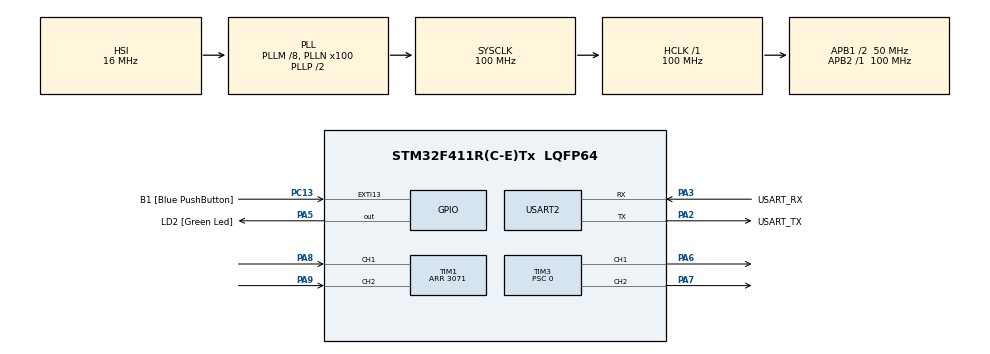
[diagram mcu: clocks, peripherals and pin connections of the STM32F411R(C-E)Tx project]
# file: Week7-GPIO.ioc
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Mcu.Family=STM32F4
PC15-OSC32_OUT.Mode=LSE-External-Oscillator
RCC.CortexFreq_Value=100000000
PC13-ANTI_TAMP.GPIO_Label=B1 [Blue PushButton]
PA14.GPIO_Label=TCK
PH1\ -\ OSC_OUT.Mode=HSE-External-Clock-Source
TIM1.EncoderMode=TIM_ENCODERMODE_TI12
RCC.APB1CLKDivider=RCC_HCLK_DIV2
PC14-OSC32_IN.Signal=RCC_OSC32_IN
RCC.SYSCLKSource=RCC_SYSCLKSOURCE_PLLCLK
ProjectManager.StackSize=0x400
PA3.Mode=Asynchronous
PA13.Signal=SYS_JTMS-SWDIO
PH0\ -\ OSC_IN.Mode=HSE-External-Clock-Source
SH.S_TIM1_CH1.0=TIM1_CH1,Encoder_Interface
PH0\ -\ OSC_IN.Signal=RCC_OSC_IN
ProjectManager.TargetToolchain=STM32CubeIDE
RCC.HCLKFreq_Value=100000000
RCC.APB2TimFreq_Value=100000000
TIM3.Period=10000
PA9.Signal=S_TIM1_CH2
PC15-OSC32_OUT.Signal=RCC_OSC32_OUT
RCC.AHBFreq_Value=100000000
TIM3.Channel-PWM\ Generation1\ CH1=TIM_CHANNEL_1
PA5.Signal=GPIO_Output
SH.S_TIM3_CH2.0=TIM3_CH2,PWM Generation2 CH2
RCC.HSE_VALUE=8000000
PH1\ -\ OSC_OUT.Signal=RCC_OSC_OUT
board=NUCLEO-F411RE
PC13-ANTI_TAMP.Signal=GPXTI13
RCC.VCOOutputFreq_Value=200000000
RCC.APB2Freq_Value=100000000
PC14-OSC32_IN.Mode=LSE-External-Oscillator
SH.S_TIM1_CH2.0=TIM1_CH2,Encoder_Interface
VP_TIM2_VS_ClockSourceINT.Mode=Internal
PA14.Mode=Serial_Wire
TIM3.Prescaler=0
NVIC.TIM2_IRQn=true\:0\:0\:false\:false\:true\:true\:true
PA8.Signal=S_TIM1_CH1
SH.S_TIM3_CH1.0=TIM3_CH1,PWM Generation1 CH1
PA13.Mode=Serial_Wire
Mcu.Name=STM32F411R(C-E)Tx
PA2.Signal=USART2_TX
PA13.GPIO_Label=TMS
RCC.FLatency-AdvancedSettings=FLASH_LATENCY_3
RCC.48MHZClocksFreq_Value=50000000
PB3.Signal=SYS_JTDO-SWO
RCC.SYSCLKFreq_VALUE=100000000
Mcu.Package=LQFP64
TIM2.Prescaler=99
PA6.Signal=S_TIM3_CH1
PA5.GPIO_Label=LD2 [Green Led]
TIM1.IC1Filter=2
USART2.VirtualMode=VM_ASYNC
PC13-ANTI_TAMP.GPIO_ModeDefaultEXTI=GPIO_MODE_IT_FALLING
PA2.GPIO_Label=USART_TX
PA14.Signal=SYS_JTCK-SWCLK
ProjectManager.HeapSize=0x200
RCC.HSI_VALUE=16000000
NVIC.PriorityGroup=NVIC_PRIORITYGROUP_0
TIM3.Channel-PWM\ Generation2\ CH2=TIM_CHANNEL_2
RCC.PLLM=8
RCC.PLLN=100
RCC.APB1TimFreq_Value=100000000
PA2.Mode=Asynchronous
TIM1.Period=3071
RCC.APB1Freq_Value=50000000
VP_TIM3_VS_ClockSourceINT.Mode=Internal
PA3.GPIO_Label=USART_RX
PA3.Signal=USART2_RX
PA7.Signal=S_TIM3_CH2
PB3.GPIO_Label=SWO

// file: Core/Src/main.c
/* USER CODE BEGIN Header */
/**
  ******************************************************************************
  * @file           : main.c
  * @brief          : Main program body
  ******************************************************************************
  * @attention
  *
  * <h2><center>&copy; Copyright (c) 2021 STMicroelectronics.
  * All rights reserved.</center></h2>
  *
  * This software component is licensed by ST under BSD 3-Clause license,
  * the "License"; You may not use this file except in compliance with the
  * License. You may obtain a copy of the License at:
  *                        opensource.org/licenses/BSD-3-Clause
  *
  ******************************************************************************
  */
/* USER CODE END Header */
#include "main.h"

TIM_HandleTypeDef htim1;
TIM_HandleTypeDef htim2;
TIM_HandleTypeDef htim3;

UART_HandleTypeDef huart2;

/* USER CODE BEGIN PV */

uint64_t _micros = 0;
float EncoderVel = 0;
uint64_t Timestamp_Encoder = 0;

int32_t PWMOut = 0;

//Control
float Velocity_need = 0; //(-50,50) Vref 5V
float pps_need = 0; //pulse per sec need
float Kp = 150;
float Ki = 10;
float Kd = 0.2;
float Diff_Error = 0;
float Integ_now = 0;
float Now_Error = 0;
float Previous_Error = 0;

/* USER CODE END PV */

void SystemClock_Config(void);
static void MX_GPIO_Init(void);
static void MX_USART2_UART_Init(void);
static void MX_TIM1_Init(void);
static void MX_TIM2_Init(void);
static void MX_TIM3_Init(void);
/* USER CODE BEGIN PFP */

uint64_t micros();
float EncoderVelocity_Update();

/* USER CODE END PFP */

int main(void)
{

  /* MCU Configuration--------------------------------------------------------*/

  /* Reset of all peripherals, Initializes the Flash interface and the Systick. */
  HAL_Init();

  /* Configure the system clock */
  SystemClock_Config();

  /* Initialize all configured peripherals */
  MX_GPIO_Init();
  MX_USART2_UART_Init();
  MX_TIM1_Init();
  MX_TIM2_Init();
  MX_TIM3_Init();
  /* USER CODE BEGIN 2 */

  HAL_TIM_Base_Start_IT(&htim2);
  HAL_TIM_Encoder_Start(&htim1, TIM_CHANNEL_ALL);

	// start PWM
	HAL_TIM_Base_Start(&htim3);
	HAL_TIM_PWM_Start(&htim3, TIM_CHANNEL_1);
	HAL_TIM_PWM_Start(&htim3, TIM_CHANNEL_2);

  /* USER CODE END 2 */

  /* Infinite loop */
  while (1)
  {

    /* USER CODE BEGIN 3 */

	  		//Add LPF?
		if (micros() - Timestamp_Encoder >= 100)
		{
			Timestamp_Encoder = micros();
			EncoderVel = (EncoderVel * 1999 + EncoderVelocity_Update()) / 2000.0; //pps

			/// write here ///

			// Convert Data
			pps_need = (Velocity_need*12*4*64)/60.0;

			// Preparing Value
			Now_Error = pps_need - EncoderVel;

			Diff_Error = (Now_Error-Previous_Error)/0.0001;
			Integ_now = Integ_now + (Now_Error*0.0001);

			// PID
			PWMOut = Kp*Now_Error + Kd*Diff_Error + Ki*Integ_now;
			if (pps_need == 0)
			{
				PWMOut = 0;
			}
			//set for next iteration of sampling
			Previous_Error = Now_Error;

			//Saturation
			if (PWMOut < -10000)
			{
				PWMOut = -10000;
			}
			else if (PWMOut > 10000)
			{
				PWMOut = 10000;
			}

			// Control
			if (PWMOut < 0)
			{
			__HAL_TIM_SET_COMPARE(&htim3, TIM_CHANNEL_1, 0);
			__HAL_TIM_SET_COMPARE(&htim3, TIM_CHANNEL_2, (PWMOut*-1));
			}
			else if (PWMOut > 0)
			{
			__HAL_TIM_SET_COMPARE(&htim3, TIM_CHANNEL_1, PWMOut);
			__HAL_TIM_SET_COMPARE(&htim3, TIM_CHANNEL_2, 0);
			}
			else if (PWMOut == 0)
			{
			__HAL_TIM_SET_COMPARE(&htim3, TIM_CHANNEL_1, 0);
			__HAL_TIM_SET_COMPARE(&htim3, TIM_CHANNEL_2, 0);
			}

		}

  }
  /* USER CODE END 3 */
}

void SystemClock_Config(void)
{
  RCC_OscInitTypeDef RCC_OscInitStruct = {0};
  RCC_ClkInitTypeDef RCC_ClkInitStruct = {0};

  /** Configure the main internal regulator output voltage
  */
  __HAL_RCC_PWR_CLK_ENABLE();
  __HAL_PWR_VOLTAGESCALING_CONFIG(PWR_REGULATOR_VOLTAGE_SCALE1);
  /** Initializes the RCC Oscillators according to the specified parameters
  * in the RCC_OscInitTypeDef structure.
  */
  RCC_OscInitStruct.OscillatorType = RCC_OSCILLATORTYPE_HSI;
  RCC_OscInitStruct.HSIState = RCC_HSI_ON;
  RCC_OscInitStruct.HSICalibrationValue = RCC_HSICALIBRATION_DEFAULT;
  RCC_OscInitStruct.PLL.PLLState = RCC_PLL_ON;
  RCC_OscInitStruct.PLL.PLLSource = RCC_PLLSOURCE_HSI;
  RCC_OscInitStruct.PLL.PLLM = 8;
  RCC_OscInitStruct.PLL.PLLN = 100;
  RCC_OscInitStruct.PLL.PLLP = RCC_PLLP_DIV2;
  RCC_OscInitStruct.PLL.PLLQ = 4;
  if (HAL_RCC_OscConfig(&RCC_OscInitStruct) != HAL_OK)
  {
    Error_Handler();
  }
  /** Initializes the CPU, AHB and APB buses clocks
  */
  RCC_ClkInitStruct.ClockType = RCC_CLOCKTYPE_HCLK|RCC_CLOCKTYPE_SYSCLK
                              |RCC_CLOCKTYPE_PCLK1|RCC_CLOCKTYPE_PCLK2;
  RCC_ClkInitStruct.SYSCLKSource = RCC_SYSCLKSOURCE_PLLCLK;
  RCC_ClkInitStruct.AHBCLKDivider = RCC_SYSCLK_DIV1;
  RCC_ClkInitStruct.APB1CLKDivider = RCC_HCLK_DIV2;
  RCC_ClkInitStruct.APB2CLKDivider = RCC_HCLK_DIV1;

  if (HAL_RCC_ClockConfig(&RCC_ClkInitStruct, FLASH_LATENCY_3) != HAL_OK)
  {
    Error_Handler();
  }
}

static void MX_TIM1_Init(void)
{

  TIM_Encoder_InitTypeDef sConfig = {0};
  TIM_MasterConfigTypeDef sMasterConfig = {0};

  htim1.Instance = TIM1;
  htim1.Init.Prescaler = 0;
  htim1.Init.CounterMode = TIM_COUNTERMODE_UP;
  htim1.Init.Period = 3071;
  htim1.Init.ClockDivision = TIM_CLOCKDIVISION_DIV1;
  htim1.Init.RepetitionCounter = 0;
  htim1.Init.AutoReloadPreload = TIM_AUTORELOAD_PRELOAD_DISABLE;
  sConfig.EncoderMode = TIM_ENCODERMODE_TI12;
  sConfig.IC1Polarity = TIM_ICPOLARITY_RISING;
  sConfig.IC1Selection = TIM_ICSELECTION_DIRECTTI;
  sConfig.IC1Prescaler = TIM_ICPSC_DIV1;
  sConfig.IC1Filter = 2;
  sConfig.IC2Polarity = TIM_ICPOLARITY_RISING;
  sConfig.IC2Selection = TIM_ICSELECTION_DIRECTTI;
  sConfig.IC2Prescaler = TIM_ICPSC_DIV1;
  sConfig.IC2Filter = 0;
  if (HAL_TIM_Encoder_Init(&htim1, &sConfig) != HAL_OK)
  {
    Error_Handler();
  }
  sMasterConfig.MasterOutputTrigger = TIM_TRGO_RESET;
  sMasterConfig.MasterSlaveMode = TIM_MASTERSLAVEMODE_DISABLE;
  if (HAL_TIMEx_MasterConfigSynchronization(&htim1, &sMasterConfig) != HAL_OK)
  {
    Error_Handler();
  }

}

static void MX_TIM2_Init(void)
{

  TIM_ClockConfigTypeDef sClockSourceConfig = {0};
  TIM_MasterConfigTypeDef sMasterConfig = {0};

  htim2.Instance = TIM2;
  htim2.Init.Prescaler = 99;
  htim2.Init.CounterMode = TIM_COUNTERMODE_UP;
  htim2.Init.Period = 4294967295;
  htim2.Init.ClockDivision = TIM_CLOCKDIVISION_DIV1;
  htim2.Init.AutoReloadPreload = TIM_AUTORELOAD_PRELOAD_DISABLE;
  if (HAL_TIM_Base_Init(&htim2) != HAL_OK)
  {
    Error_Handler();
  }
  sClockSourceConfig.ClockSource = TIM_CLOCKSOURCE_INTERNAL;
  if (HAL_TIM_ConfigClockSource(&htim2, &sClockSourceConfig) != HAL_OK)
  {
    Error_Handler();
  }
  sMasterConfig.MasterOutputTrigger = TIM_TRGO_RESET;
  sMasterConfig.MasterSlaveMode = TIM_MASTERSLAVEMODE_DISABLE;
  if (HAL_TIMEx_MasterConfigSynchronization(&htim2, &sMasterConfig) != HAL_OK)
  {
    Error_Handler();
  }

}

static void MX_TIM3_Init(void)
{

  TIM_ClockConfigTypeDef sClockSourceConfig = {0};
  TIM_MasterConfigTypeDef sMasterConfig = {0};
  TIM_OC_InitTypeDef sConfigOC = {0};

  htim3.Instance = TIM3;
  htim3.Init.Prescaler = 0;
  htim3.Init.CounterMode = TIM_COUNTERMODE_UP;
  htim3.Init.Period = 10000;
  htim3.Init.ClockDivision = TIM_CLOCKDIVISION_DIV1;
  htim3.Init.AutoReloadPreload = TIM_AUTORELOAD_PRELOAD_DISABLE;
  if (HAL_TIM_Base_Init(&htim3) != HAL_OK)
  {
    Error_Handler();
  }
  sClockSourceConfig.ClockSource = TIM_CLOCKSOURCE_INTERNAL;
  if (HAL_TIM_ConfigClockSource(&htim3, &sClockSourceConfig) != HAL_OK)
  {
    Error_Handler();
  }
  if (HAL_TIM_PWM_Init(&htim3) != HAL_OK)
  {
    Error_Handler();
  }
  sMasterConfig.MasterOutputTrigger = TIM_TRGO_RESET;
  sMasterConfig.MasterSlaveMode = TIM_MASTERSLAVEMODE_DISABLE;
  if (HAL_TIMEx_MasterConfigSynchronization(&htim3, &sMasterConfig) != HAL_OK)
  {
    Error_Handler();
  }
  sConfigOC.OCMode = TIM_OCMODE_PWM1;
  sConfigOC.Pulse = 0;
  sConfigOC.OCPolarity = TIM_OCPOLARITY_HIGH;
  sConfigOC.OCFastMode = TIM_OCFAST_DISABLE;
  if (HAL_TIM_PWM_ConfigChannel(&htim3, &sConfigOC, TIM_CHANNEL_1) != HAL_OK)
  {
    Error_Handler();
  }
  if (HAL_TIM_PWM_ConfigChannel(&htim3, &sConfigOC, TIM_CHANNEL_2) != HAL_OK)
  {
    Error_Handler();
  }
  HAL_TIM_MspPostInit(&htim3);

}

static void MX_USART2_UART_Init(void)
{

  huart2.Instance = USART2;
  huart2.Init.BaudRate = 115200;
  huart2.Init.WordLength = UART_WORDLENGTH_8B;
  huart2.Init.StopBits = UART_STOPBITS_1;
  huart2.Init.Parity = UART_PARITY_NONE;
  huart2.Init.Mode = UART_MODE_TX_RX;
  huart2.Init.HwFlowCtl = UART_HWCONTROL_NONE;
  huart2.Init.OverSampling = UART_OVERSAMPLING_16;
  if (HAL_UART_Init(&huart2) != HAL_OK)
  {
    Error_Handler();
  }

}

static void MX_GPIO_Init(void)
{
  GPIO_InitTypeDef GPIO_InitStruct = {0};

  /* GPIO Ports Clock Enable */
  __HAL_RCC_GPIOC_CLK_ENABLE();
  __HAL_RCC_GPIOH_CLK_ENABLE();
  __HAL_RCC_GPIOA_CLK_ENABLE();
  __HAL_RCC_GPIOB_CLK_ENABLE();

  /*Configure GPIO pin Output Level */
  HAL_GPIO_WritePin(LD2_GPIO_Port, LD2_Pin, GPIO_PIN_RESET);

  /*Configure GPIO pin : B1_Pin */
  GPIO_InitStruct.Pin = B1_Pin;
  GPIO_InitStruct.Mode = GPIO_MODE_IT_FALLING;
  GPIO_InitStruct.Pull = GPIO_NOPULL;
  HAL_GPIO_Init(B1_GPIO_Port, &GPIO_InitStruct);

  /*Configure GPIO pin : LD2_Pin */
  GPIO_InitStruct.Pin = LD2_Pin;
  GPIO_InitStruct.Mode = GPIO_MODE_OUTPUT_PP;
  GPIO_InitStruct.Pull = GPIO_NOPULL;
  GPIO_InitStruct.Speed = GPIO_SPEED_FREQ_LOW;
  HAL_GPIO_Init(LD2_GPIO_Port, &GPIO_InitStruct);

}

/* USER CODE BEGIN 4 */

#define  HTIM_ENCODER htim1
#define  MAX_SUBPOSITION_OVERFLOW 1536
#define  MAX_ENCODER_PERIOD 3072

float EncoderVelocity_Update()
{
	//Save Last state
	static uint32_t EncoderLastPosition = 0;
	static uint64_t EncoderLastTimestamp = 0;

	//read data
	uint32_t EncoderNowPosition = HTIM_ENCODER.Instance->CNT;
	uint64_t EncoderNowTimestamp = micros();

	int32_t EncoderPositionDiff;
	uint64_t EncoderTimeDiff;

	EncoderTimeDiff = EncoderNowTimestamp - EncoderLastTimestamp;
	EncoderPositionDiff = EncoderNowPosition - EncoderLastPosition;

	//compensate overflow and underflow
	if (EncoderPositionDiff >= MAX_SUBPOSITION_OVERFLOW)
	{
		EncoderPositionDiff -= MAX_ENCODER_PERIOD;
	}
	else if (-EncoderPositionDiff >= MAX_SUBPOSITION_OVERFLOW)
	{
		EncoderPositionDiff += MAX_ENCODER_PERIOD;
	}

	//Update Position and time
	EncoderLastPosition = EncoderNowPosition;
	EncoderLastTimestamp = EncoderNowTimestamp;

	//Calculate velocity
	//EncoderTimeDiff is in uS
	return (EncoderPositionDiff * 1000000) / (float) EncoderTimeDiff;

}

void HAL_TIM_PeriodElapsedCallback(TIM_HandleTypeDef *htim)
{
	if (htim == &htim2)
	{
		_micros += 4294967295;
	}
}

uint64_t micros()
{
	return _micros + htim2.Instance->CNT;
}

/* USER CODE END 4 */

void Error_Handler(void)
{
  __disable_irq();
  while (1)
  {
  }
}

/************************ (C) COPYRIGHT STMicroelectronics *****END OF FILE****/
